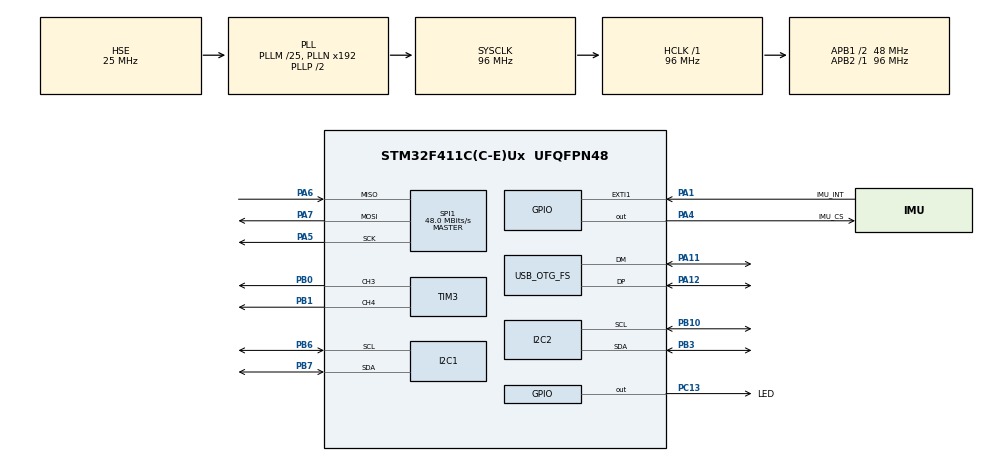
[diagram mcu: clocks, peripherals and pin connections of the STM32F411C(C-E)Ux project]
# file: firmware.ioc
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I2C1.I2C_Mode=I2C_Fast
I2C2.I2C_Mode=I2C_Fast
Mcu.Family=STM32F4
Mcu.Name=STM32F411C(C-E)Ux
Mcu.Package=UFQFPN48
NVIC.EXTI1_IRQn=true\:0\:0\:false\:false\:true\:true\:true\:true
NVIC.OTG_FS_IRQn=true\:0\:0\:false\:false\:true\:false\:true\:true
NVIC.PriorityGroup=NVIC_PRIORITYGROUP_4
NVIC.TIM2_IRQn=true\:0\:0\:false\:false\:true\:true\:true\:true
PA1.GPIO_Label=IMU_INT
PA1.GPIO_ModeDefaultEXTI=GPIO_MODE_IT_RISING
PA1.Signal=GPXTI1
PA11.Mode=Device_Only
PA11.Signal=USB_OTG_FS_DM
PA12.Mode=Device_Only
PA12.Signal=USB_OTG_FS_DP
PA13.Mode=Serial_Wire
PA13.Signal=SYS_JTMS-SWDIO
PA14.Mode=Serial_Wire
PA14.Signal=SYS_JTCK-SWCLK
PA4.GPIO_Label=IMU_CS
PA4.PinState=GPIO_PIN_SET
PA4.Signal=GPIO_Output
PA5.Mode=Full_Duplex_Master
PA5.Signal=SPI1_SCK
PA6.Mode=Full_Duplex_Master
PA6.Signal=SPI1_MISO
PA7.Mode=Full_Duplex_Master
PA7.Signal=SPI1_MOSI
PB0.Signal=S_TIM3_CH3
PB1.Signal=S_TIM3_CH4
PB10.Mode=I2C
PB10.Signal=I2C2_SCL
PB3.Mode=I2C
PB3.Signal=I2C2_SDA
PB6.Mode=I2C
PB6.Signal=I2C1_SCL
PB7.Mode=I2C
PB7.Signal=I2C1_SDA
PC13-ANTI_TAMP.GPIO_Label=LED
PC13-ANTI_TAMP.PinState=GPIO_PIN_SET
PC13-ANTI_TAMP.Signal=GPIO_Output
PH0\ -\ OSC_IN.Mode=HSE-External-Oscillator
PH0\ -\ OSC_IN.Signal=RCC_OSC_IN
PH1\ -\ OSC_OUT.Mode=HSE-External-Oscillator
PH1\ -\ OSC_OUT.Signal=RCC_OSC_OUT
ProjectManager.HeapSize=0x200
ProjectManager.StackSize=0x400
ProjectManager.TargetToolchain=STM32CubeIDE
RCC.48MHZClocksFreq_Value=48000000
RCC.AHBFreq_Value=96000000
RCC.APB1CLKDivider=RCC_HCLK_DIV2
RCC.APB1Freq_Value=48000000
RCC.APB1TimFreq_Value=96000000
RCC.APB2Freq_Value=96000000
RCC.APB2TimFreq_Value=96000000
RCC.CortexFreq_Value=96000000
RCC.HCLKFreq_Value=96000000
RCC.HSE_VALUE=25000000
RCC.HSI_VALUE=16000000
RCC.LSE_VALUE=32768
RCC.PLLM=25
RCC.SYSCLKFreq_VALUE=96000000
RCC.SYSCLKSource=RCC_SYSCLKSOURCE_PLLCLK
RCC.VCOOutputFreq_Value=192000000
SH.S_TIM3_CH3.0=TIM3_CH3,PWM Generation3 CH3
SH.S_TIM3_CH4.0=TIM3_CH4,PWM Generation4 CH4
SPI1.CalculateBaudRate=48.0 MBits/s
SPI1.Direction=SPI_DIRECTION_2LINES
SPI1.Mode=SPI_MODE_MASTER
SPI1.VirtualType=VM_MASTER
TIM3.Channel-PWM\ Generation3\ CH3=TIM_CHANNEL_3
TIM3.Channel-PWM\ Generation4\ CH4=TIM_CHANNEL_4
USB_DEVICE.CLASS_NAME_FS=CDC
USB_DEVICE.VirtualMode=Cdc
USB_DEVICE.VirtualModeFS=Cdc_FS
USB_OTG_FS.VirtualMode=Device_Only
VP_TIM2_VS_ClockSourceINT.Mode=Internal
VP_TIM3_VS_ClockSourceINT.Mode=Internal
VP_USB_DEVICE_VS_USB_DEVICE_CDC_FS.Mode=CDC_FS
board=custom

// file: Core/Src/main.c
/* USER CODE BEGIN Header */
/**
  ******************************************************************************
  * @file           : main.c
  * @brief          : Main program body
  ******************************************************************************
  * @attention
  *
  * Copyright (c) 2026 STMicroelectronics.
  * All rights reserved.
  *
  * This software is licensed under terms that can be found in the LICENSE file
  * in the root directory of this software component.
  * If no LICENSE file comes with this software, it is provided AS-IS.
  *
  ******************************************************************************
  */
/* USER CODE END Header */
#include "main.h"
#include "i2c.h"
#include "spi.h"
#include "tim.h"
#include "usb_device.h"
#include "gpio.h"

/* USER CODE BEGIN Includes */
#include "usbd_cdc_if.h"
#include<stdio.h>
#include <math.h>
#include <string.h>

/* USER CODE END Includes */

/* USER CODE BEGIN PD */
#define AS5600_ADDR (0x36 << 1)
#define AS5600_RAW_ANGLE_H 0x0C
/* USER CODE END PD */

void SystemClock_Config(void);

int main(void)
{

  /* MCU Configuration--------------------------------------------------------*/

  /* Reset of all peripherals, Initializes the Flash interface and the Systick. */
  HAL_Init();

  /* Configure the system clock */
  SystemClock_Config();

  /* Initialize all configured peripherals */
  MX_GPIO_Init();
  MX_USB_DEVICE_Init();
  MX_I2C1_Init();
  MX_I2C2_Init();
  MX_SPI1_Init();
  MX_TIM2_Init();
  MX_TIM3_Init();
  /* USER CODE BEGIN 2 */
uint32_t last = HAL_GetTick();
HAL_StatusTypeDef enc_status = HAL_I2C_IsDeviceReady(&hi2c1, AS5600_ADDR, 3, 10);
  /* USER CODE END 2 */

  /* Infinite loop */
  /* USER CODE BEGIN WHILE */
  while (1)
  {
	  if (HAL_GetTick() - last >= 10 )
	  {
		  last += 10;

		  uint32_t t = HAL_GetTick();
		  int32_t value = -1;

		  uint8_t buf[2];
		  if (HAL_I2C_Mem_Read(&hi2c1, AS5600_ADDR, AS5600_RAW_ANGLE_H,
		                       I2C_MEMADD_SIZE_8BIT, buf, 2, 5) == HAL_OK)
		  {
		      value = ((buf[0] & 0x0F) << 8) | buf[1];
		  }

		  char buff[32];
		  int size = snprintf(buff, sizeof(buff), "%lu,%ld\n", t, value);
		  CDC_Transmit_FS((uint8_t*)buff, size);

		  static uint32_t count = 0;
		  if (++count % (enc_status == HAL_OK ? 50 : 5) == 0)
		  {
			  HAL_GPIO_TogglePin(LED_GPIO_Port, LED_Pin);
		  }

	  }
    /* USER CODE END WHILE */

  }
}

void SystemClock_Config(void)
{
  RCC_OscInitTypeDef RCC_OscInitStruct = {0};
  RCC_ClkInitTypeDef RCC_ClkInitStruct = {0};

  /** Configure the main internal regulator output voltage
  */
  __HAL_RCC_PWR_CLK_ENABLE();
  __HAL_PWR_VOLTAGESCALING_CONFIG(PWR_REGULATOR_VOLTAGE_SCALE1);

  /** Initializes the RCC Oscillators according to the specified parameters
  * in the RCC_OscInitTypeDef structure.
  */
  RCC_OscInitStruct.OscillatorType = RCC_OSCILLATORTYPE_HSE;
  RCC_OscInitStruct.HSEState = RCC_HSE_ON;
  RCC_OscInitStruct.PLL.PLLState = RCC_PLL_ON;
  RCC_OscInitStruct.PLL.PLLSource = RCC_PLLSOURCE_HSE;
  RCC_OscInitStruct.PLL.PLLM = 25;
  RCC_OscInitStruct.PLL.PLLN = 192;
  RCC_OscInitStruct.PLL.PLLP = RCC_PLLP_DIV2;
  RCC_OscInitStruct.PLL.PLLQ = 4;
  if (HAL_RCC_OscConfig(&RCC_OscInitStruct) != HAL_OK)
  {
    Error_Handler();
  }

  /** Initializes the CPU, AHB and APB buses clocks
  */
  RCC_ClkInitStruct.ClockType = RCC_CLOCKTYPE_HCLK|RCC_CLOCKTYPE_SYSCLK
                              |RCC_CLOCKTYPE_PCLK1|RCC_CLOCKTYPE_PCLK2;
  RCC_ClkInitStruct.SYSCLKSource = RCC_SYSCLKSOURCE_PLLCLK;
  RCC_ClkInitStruct.AHBCLKDivider = RCC_SYSCLK_DIV1;
  RCC_ClkInitStruct.APB1CLKDivider = RCC_HCLK_DIV2;
  RCC_ClkInitStruct.APB2CLKDivider = RCC_HCLK_DIV1;

  if (HAL_RCC_ClockConfig(&RCC_ClkInitStruct, FLASH_LATENCY_3) != HAL_OK)
  {
    Error_Handler();
  }
}

void Error_Handler(void)
{
  __disable_irq();
  while (1)
  {
  }
}
